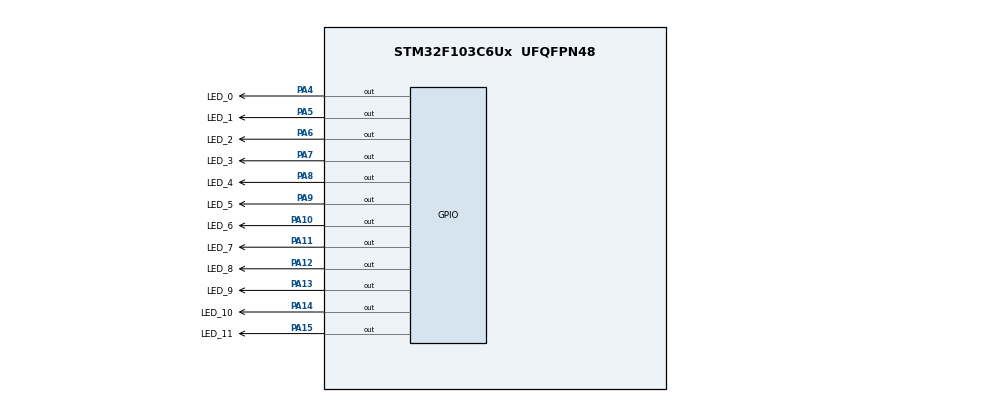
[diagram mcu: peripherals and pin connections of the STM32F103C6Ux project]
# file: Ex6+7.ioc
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Mcu.Family=STM32F1
Mcu.Name=STM32F103C6Ux
Mcu.Package=UFQFPN48
NVIC.PriorityGroup=NVIC_PRIORITYGROUP_4
PA10.GPIO_Label=LED_6
PA10.Signal=GPIO_Output
PA11.GPIO_Label=LED_7
PA11.Signal=GPIO_Output
PA12.GPIO_Label=LED_8
PA12.Signal=GPIO_Output
PA13.GPIO_Label=LED_9
PA13.Signal=GPIO_Output
PA14.GPIO_Label=LED_10
PA14.Signal=GPIO_Output
PA15.GPIO_Label=LED_11
PA15.Signal=GPIO_Output
PA4.GPIO_Label=LED_0
PA4.Signal=GPIO_Output
PA5.GPIO_Label=LED_1
PA5.Signal=GPIO_Output
PA6.GPIO_Label=LED_2
PA6.Signal=GPIO_Output
PA7.GPIO_Label=LED_3
PA7.Signal=GPIO_Output
PA8.GPIO_Label=LED_4
PA8.Signal=GPIO_Output
PA9.GPIO_Label=LED_5
PA9.Signal=GPIO_Output
ProjectManager.HeapSize=0x200
ProjectManager.StackSize=0x400
ProjectManager.TargetToolchain=STM32CubeIDE
RCC.APB1Freq_Value=8000000
RCC.APB2Freq_Value=8000000
VP_SYS_VS_ND.Mode=No_Debug
board=custom

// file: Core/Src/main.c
/* USER CODE BEGIN Header */
/**
  ******************************************************************************
  * @file           : main.c
  * @brief          : Main program body
  ******************************************************************************
  * @attention
  *
  * <h2><center>&copy; Copyright (c) 2022 STMicroelectronics.
  * All rights reserved.</center></h2>
  *
  * This software component is licensed by ST under BSD 3-Clause license,
  * the "License"; You may not use this file except in compliance with the
  * License. You may obtain a copy of the License at:
  *                        opensource.org/licenses/BSD-3-Clause
  *
  ******************************************************************************
  */
/* USER CODE END Header */
#include "main.h"

void SystemClock_Config(void);
static void MX_GPIO_Init(void);
/* USER CODE BEGIN PFP */
void display12LED(int value);
void clearAllClock();
/* USER CODE END PFP */

int main(void)
{

  /* MCU Configuration--------------------------------------------------------*/

  /* Reset of all peripherals, Initializes the Flash interface and the Systick. */
  HAL_Init();

  /* Configure the system clock */
  SystemClock_Config();

  /* Initialize all configured peripherals */
  MX_GPIO_Init();
  /* USER CODE BEGIN 2 */
  int counter = 0;
  /* USER CODE END 2 */

  /* Infinite loop */
  /* USER CODE BEGIN WHILE */
  while (1)
  {
	  display12LED(++counter);
	  if (counter >= 10) counter = 0;
	  	  HAL_Delay(1000);
    /* USER CODE END WHILE */

  }
}

void SystemClock_Config(void)
{
  RCC_OscInitTypeDef RCC_OscInitStruct = {0};
  RCC_ClkInitTypeDef RCC_ClkInitStruct = {0};

  /** Initializes the RCC Oscillators according to the specified parameters
  * in the RCC_OscInitTypeDef structure.
  */
  RCC_OscInitStruct.OscillatorType = RCC_OSCILLATORTYPE_HSI;
  RCC_OscInitStruct.HSIState = RCC_HSI_ON;
  RCC_OscInitStruct.HSICalibrationValue = RCC_HSICALIBRATION_DEFAULT;
  RCC_OscInitStruct.PLL.PLLState = RCC_PLL_NONE;
  if (HAL_RCC_OscConfig(&RCC_OscInitStruct) != HAL_OK)
  {
    Error_Handler();
  }
  /** Initializes the CPU, AHB and APB buses clocks
  */
  RCC_ClkInitStruct.ClockType = RCC_CLOCKTYPE_HCLK|RCC_CLOCKTYPE_SYSCLK
                              |RCC_CLOCKTYPE_PCLK1|RCC_CLOCKTYPE_PCLK2;
  RCC_ClkInitStruct.SYSCLKSource = RCC_SYSCLKSOURCE_HSI;
  RCC_ClkInitStruct.AHBCLKDivider = RCC_SYSCLK_DIV1;
  RCC_ClkInitStruct.APB1CLKDivider = RCC_HCLK_DIV1;
  RCC_ClkInitStruct.APB2CLKDivider = RCC_HCLK_DIV1;

  if (HAL_RCC_ClockConfig(&RCC_ClkInitStruct, FLASH_LATENCY_0) != HAL_OK)
  {
    Error_Handler();
  }
}

static void MX_GPIO_Init(void)
{
  GPIO_InitTypeDef GPIO_InitStruct = {0};

  /* GPIO Ports Clock Enable */
  __HAL_RCC_GPIOA_CLK_ENABLE();

  /*Configure GPIO pin Output Level */
  HAL_GPIO_WritePin(GPIOA, LED_0_Pin|LED_1_Pin|LED_2_Pin|LED_3_Pin
                          |LED_4_Pin|LED_5_Pin|LED_6_Pin|LED_7_Pin
                          |LED_8_Pin|LED_9_Pin|LED_10_Pin|LED_11_Pin, GPIO_PIN_RESET);

  /*Configure GPIO pins : LED_0_Pin LED_1_Pin LED_2_Pin LED_3_Pin
                           LED_4_Pin LED_5_Pin LED_6_Pin LED_7_Pin
                           LED_8_Pin LED_9_Pin LED_10_Pin LED_11_Pin */
  GPIO_InitStruct.Pin = LED_0_Pin|LED_1_Pin|LED_2_Pin|LED_3_Pin
                          |LED_4_Pin|LED_5_Pin|LED_6_Pin|LED_7_Pin
                          |LED_8_Pin|LED_9_Pin|LED_10_Pin|LED_11_Pin;
  GPIO_InitStruct.Mode = GPIO_MODE_OUTPUT_PP;
  GPIO_InitStruct.Pull = GPIO_NOPULL;
  GPIO_InitStruct.Speed = GPIO_SPEED_FREQ_LOW;
  HAL_GPIO_Init(GPIOA, &GPIO_InitStruct);

}

/* USER CODE BEGIN 4 */
void clearAllClock() {
	HAL_GPIO_WritePin(LED_0_GPIO_Port, LED_0_Pin, GPIO_PIN_SET);
	HAL_GPIO_WritePin(LED_1_GPIO_Port, LED_1_Pin, GPIO_PIN_SET);
	HAL_GPIO_WritePin(LED_2_GPIO_Port, LED_2_Pin, GPIO_PIN_SET);
	HAL_GPIO_WritePin(LED_3_GPIO_Port, LED_3_Pin, GPIO_PIN_SET);
	HAL_GPIO_WritePin(LED_4_GPIO_Port, LED_4_Pin, GPIO_PIN_SET);
	HAL_GPIO_WritePin(LED_5_GPIO_Port, LED_5_Pin, GPIO_PIN_SET);
	HAL_GPIO_WritePin(LED_6_GPIO_Port, LED_6_Pin, GPIO_PIN_SET);
	HAL_GPIO_WritePin(LED_7_GPIO_Port, LED_7_Pin, GPIO_PIN_SET);
	HAL_GPIO_WritePin(LED_8_GPIO_Port, LED_8_Pin, GPIO_PIN_SET);
	HAL_GPIO_WritePin(LED_9_GPIO_Port, LED_9_Pin, GPIO_PIN_SET);
	HAL_GPIO_WritePin(LED_10_GPIO_Port, LED_10_Pin, GPIO_PIN_SET);
	HAL_GPIO_WritePin(LED_11_GPIO_Port, LED_11_Pin, GPIO_PIN_SET);
}

void display12LED(int value) {
	clearAllClock();
	switch (value) {
	case 1:
		HAL_GPIO_TogglePin(GPIOA, GPIO_PIN_4);
		HAL_GPIO_TogglePin(GPIOA, GPIO_PIN_5);
		HAL_GPIO_TogglePin(GPIOA, GPIO_PIN_6);
		HAL_GPIO_TogglePin(GPIOA, GPIO_PIN_7);
		HAL_GPIO_TogglePin(GPIOA, GPIO_PIN_8);
		HAL_GPIO_TogglePin(GPIOA, GPIO_PIN_9);
		HAL_GPIO_TogglePin(GPIOA, GPIO_PIN_10);
		HAL_GPIO_TogglePin(GPIOA, GPIO_PIN_11);
		HAL_GPIO_TogglePin(GPIOA, GPIO_PIN_12);
		HAL_GPIO_TogglePin(GPIOA, GPIO_PIN_13);
		HAL_GPIO_TogglePin(GPIOA, GPIO_PIN_14);
		HAL_GPIO_TogglePin(GPIOA, GPIO_PIN_15);
		break;
	case 2:
		HAL_GPIO_TogglePin(GPIOA, GPIO_PIN_4);
		HAL_GPIO_TogglePin(GPIOA, GPIO_PIN_6);
		HAL_GPIO_TogglePin(GPIOA, GPIO_PIN_8);
		HAL_GPIO_TogglePin(GPIOA, GPIO_PIN_10);
		HAL_GPIO_TogglePin(GPIOA, GPIO_PIN_12);
		HAL_GPIO_TogglePin(GPIOA, GPIO_PIN_14);
		break;
	case 3:
		HAL_GPIO_TogglePin(GPIOA, GPIO_PIN_5);
		HAL_GPIO_TogglePin(GPIOA, GPIO_PIN_7);
		HAL_GPIO_TogglePin(GPIOA, GPIO_PIN_9);
		HAL_GPIO_TogglePin(GPIOA, GPIO_PIN_11);
		HAL_GPIO_TogglePin(GPIOA, GPIO_PIN_13);
		HAL_GPIO_TogglePin(GPIOA, GPIO_PIN_15);
		break;
	case 4:
		HAL_GPIO_TogglePin(GPIOA, GPIO_PIN_4);
		HAL_GPIO_TogglePin(GPIOA, GPIO_PIN_8);
		HAL_GPIO_TogglePin(GPIOA, GPIO_PIN_12);
		break;
	case 5:
		HAL_GPIO_TogglePin(GPIOA, GPIO_PIN_7);
		HAL_GPIO_TogglePin(GPIOA, GPIO_PIN_11);
		HAL_GPIO_TogglePin(GPIOA, GPIO_PIN_15);
		break;
	case 6:
		HAL_GPIO_TogglePin(GPIOA, GPIO_PIN_6);
		HAL_GPIO_TogglePin(GPIOA, GPIO_PIN_10);
		HAL_GPIO_TogglePin(GPIOA, GPIO_PIN_14);
		break;
	case 7:
		HAL_GPIO_TogglePin(GPIOA, GPIO_PIN_5);
		HAL_GPIO_TogglePin(GPIOA, GPIO_PIN_9);
		HAL_GPIO_TogglePin(GPIOA, GPIO_PIN_13);
		break;
	case 8:
		HAL_GPIO_TogglePin(GPIOA, GPIO_PIN_4);
		HAL_GPIO_TogglePin(GPIOA, GPIO_PIN_10);
		break;
	case 9:
		HAL_GPIO_TogglePin(GPIOA, GPIO_PIN_7);
		HAL_GPIO_TogglePin(GPIOA, GPIO_PIN_13);
		break;
	default:
		break;
	}

}
/* USER CODE END 4 */

void Error_Handler(void)
{
  __disable_irq();
  while (1)
  {
  }
}

/************************ (C) COPYRIGHT STMicroelectronics *****END OF FILE****/
